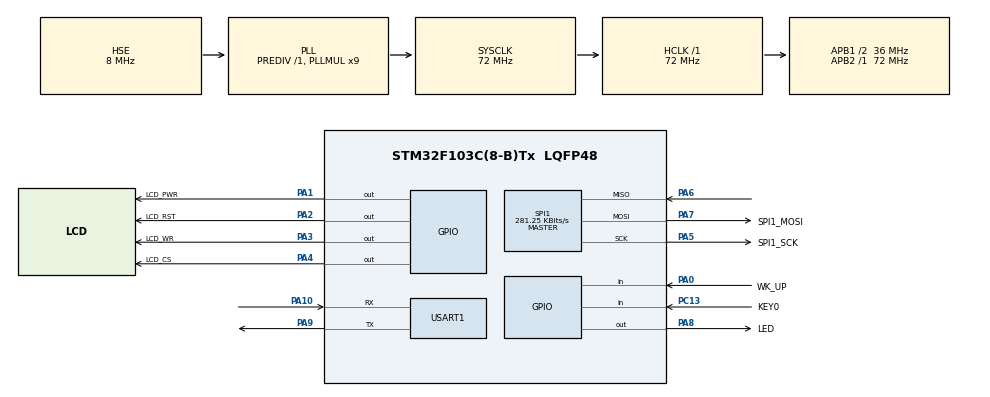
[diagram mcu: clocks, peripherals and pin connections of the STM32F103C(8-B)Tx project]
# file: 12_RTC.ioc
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Mcu.Family=STM32F1
Mcu.Name=STM32F103C(8-B)Tx
Mcu.Package=LQFP48
NVIC.PriorityGroup=NVIC_PRIORITYGROUP_2
NVIC.RTC_IRQn=true\:2\:2\:true\:false\:true\:true\:true\:true
NVIC.USART1_IRQn=true\:2\:0\:true\:false\:true\:true\:true\:true
PA0-WKUP.GPIO_Label=WK_UP
PA0-WKUP.GPIO_PuPd=GPIO_PULLDOWN
PA0-WKUP.Signal=GPIO_Input
PA1.GPIO_Label=LCD_PWR
PA1.GPIO_PuPd=GPIO_PULLUP
PA1.GPIO_Speed=GPIO_SPEED_FREQ_HIGH
PA1.PinState=GPIO_PIN_SET
PA1.Signal=GPIO_Output
PA10.Mode=Asynchronous
PA10.Signal=USART1_RX
PA13.Mode=Serial_Wire
PA13.Signal=SYS_JTMS-SWDIO
PA14.Mode=Serial_Wire
PA14.Signal=SYS_JTCK-SWCLK
PA2.GPIO_Label=LCD_RST
PA2.GPIO_PuPd=GPIO_PULLUP
PA2.GPIO_Speed=GPIO_SPEED_FREQ_HIGH
PA2.PinState=GPIO_PIN_SET
PA2.Signal=GPIO_Output
PA3.GPIO_Label=LCD_WR
PA3.GPIO_PuPd=GPIO_PULLUP
PA3.GPIO_Speed=GPIO_SPEED_FREQ_HIGH
PA3.PinState=GPIO_PIN_SET
PA3.Signal=GPIO_Output
PA4.GPIO_Label=LCD_CS
PA4.GPIO_PuPd=GPIO_PULLUP
PA4.GPIO_Speed=GPIO_SPEED_FREQ_HIGH
PA4.PinState=GPIO_PIN_SET
PA4.Signal=GPIO_Output
PA5.GPIO_Label=SPI1_SCK
PA5.Mode=Full_Duplex_Master
PA5.Signal=SPI1_SCK
PA6.Mode=Full_Duplex_Master
PA6.Signal=SPI1_MISO
PA7.GPIO_Label=SPI1_MOSI
PA7.Mode=Full_Duplex_Master
PA7.Signal=SPI1_MOSI
PA8.GPIO_Label=LED
PA8.GPIO_PuPd=GPIO_PULLUP
PA8.GPIO_Speed=GPIO_SPEED_FREQ_HIGH
PA8.PinState=GPIO_PIN_SET
PA8.Signal=GPIO_Output
PA9.Mode=Asynchronous
PA9.Signal=USART1_TX
PC13-TAMPER-RTC.GPIO_Label=KEY0
PC13-TAMPER-RTC.GPIO_PuPd=GPIO_PULLUP
PC13-TAMPER-RTC.Signal=GPIO_Input
PC14-OSC32_IN.Mode=LSE-External-Oscillator
PC14-OSC32_IN.Signal=RCC_OSC32_IN
PC15-OSC32_OUT.Mode=LSE-External-Oscillator
PC15-OSC32_OUT.Signal=RCC_OSC32_OUT
PD0-OSC_IN.Mode=HSE-External-Oscillator
PD0-OSC_IN.Signal=RCC_OSC_IN
PD1-OSC_OUT.Mode=HSE-External-Oscillator
PD1-OSC_OUT.Signal=RCC_OSC_OUT
ProjectManager.HeapSize=0x200
ProjectManager.StackSize=0x400
ProjectManager.TargetToolchain=STM32CubeIDE
RCC.AHBFreq_Value=72000000
RCC.APB1CLKDivider=RCC_HCLK_DIV2
RCC.APB1Freq_Value=36000000
RCC.APB1TimFreq_Value=72000000
RCC.APB2Freq_Value=72000000
RCC.APB2TimFreq_Value=72000000
RCC.HCLKFreq_Value=72000000
RCC.PLLMUL=RCC_PLL_MUL9
RCC.PLLSourceVirtual=RCC_PLLSOURCE_HSE
RCC.RTCClockSelection=RCC_RTCCLKSOURCE_LSE
RCC.SYSCLKFreq_VALUE=72000000
RCC.SYSCLKSource=RCC_SYSCLKSOURCE_PLLCLK
RCC.USBFreq_Value=72000000
RTC.Date=11
RTC.Hours=9
RTC.Month=RTC_MONTH_MARCH
RTC.Year=24
SPI1.BaudRatePrescaler=SPI_BAUDRATEPRESCALER_256
SPI1.CLKPhase=SPI_PHASE_2EDGE
SPI1.CLKPolarity=SPI_POLARITY_HIGH
SPI1.CalculateBaudRate=281.25 KBits/s
SPI1.Direction=SPI_DIRECTION_2LINES
SPI1.Mode=SPI_MODE_MASTER
SPI1.VirtualType=VM_MASTER
USART1.VirtualMode=VM_ASYNC
VP_RTC_No_RTC_Output.Mode=RTC_OUT_NO
VP_RTC_VS_RTC_Activate.Mode=RTC_Enabled
VP_RTC_VS_RTC_Calendar.Mode=RTC_Calendar
board=custom

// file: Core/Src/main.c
/**
 ****************************************************************************************************
 * @file        main.c
 * @author      ALIENTEK
 * @brief       USMART code
 * @license     Copyright (C) 2020-2032, ALIENTEK
 ****************************************************************************************************
 * @attention
 *
 * platform  	: ALIENTEK STM32F103 development board
 * website		: https://www.alientek.com
 * forum		: http://www.openedv.com/forum.php
 *
 * change logs	:
 * version		data		notes
 * V1.0			20240222	the first version
 *
 ****************************************************************************************************
 */

/* USER CODE BEGIN Header */

/* USER CODE END Header */
#include "main.h"
#include "rtc.h"
#include "spi.h"
#include "usart.h"
#include "gpio.h"

/* USER CODE BEGIN Includes */
#include "../../BSP/LED/led.h"
#include "../../BSP/KEY/key.h"
#include "../../BSP/LCD/lcd.h"
/* USER CODE END Includes */

/* USER CODE BEGIN PTD */

void stm32f103c8t6_show_mesg(void)
{
	/* The serial port outputs the experimental information */
	printf("\n");
	printf("********************************\r\n");
	printf("STM32F103\r\n");
	printf("RTC Test\r\n");
	printf("ATOM@ALIENTEK\r\n");
	printf("********************************\r\n");
	printf("\r\n");
}

/* USER CODE END PTD */

void SystemClock_Config(void);

/* USER CODE BEGIN 0 */

/* Defines an array of characters to display weeks */
char* weekdays[]={"Sunday","Monday","Tuesday","Wednesday",
                  "Thursday","Friday","Saterday"};

/* USER CODE END 0 */

int main(void)
{
  /* USER CODE BEGIN 1 */

    uint8_t tbuf[40];
    uint8_t t = 0;

  /* USER CODE END 1 */

  /* MCU Configuration--------------------------------------------------------*/

  /* Reset of all peripherals, Initializes the Flash interface and the Systick. */
  HAL_Init();

  /* Configure the system clock */
  SystemClock_Config();

  /* Initialize all configured peripherals */
  MX_GPIO_Init();
  MX_USART1_UART_Init();
  MX_SPI1_Init();
  MX_RTC_Init();
  /* USER CODE BEGIN 2 */

  stm32f103c8t6_show_mesg();
  rtc_set_alarm(2024, 3, 11, 9, 0, 0); /* Set an alarm */
  lcd_init();
  lcd_show_string(0, 5, 240, 32, 32, "STM32F103C8T6", RED);
  lcd_show_string(0, 34, 240, 24, 24, "RTC Test", RED);
  lcd_show_string(0, 60, 240, 16, 16, "ATOM@ALIENTEK", RED);

  /* USER CODE END 2 */

  /* Infinite loop */
  /* USER CODE BEGIN WHILE */
  while (1)
  {
	  t++;

	  if ((t % 10) == 0)               	/* The display data is updated every 100ms */
	  {
		  rtc_get_time();
          sprintf((char *)tbuf, "Time:%02d:%02d:%02d", calendar.hour, calendar.min, calendar.sec);
          printf("Time:%02d:%02d:%02d\r\n", calendar.hour, calendar.min, calendar.sec);
          lcd_show_string(0, 80, 210, 16, 16, (char *)tbuf,BLUE);
          sprintf((char *)tbuf, "Date:%04d-%02d-%02d", calendar.year, calendar.month, calendar.date);
          printf("Date:%02d-%02d-%02d\r\n",  calendar.year,  calendar.month,  calendar.date);
          lcd_show_string(0, 100, 210, 16, 16, (char *)tbuf,BLUE);
          sprintf((char *)tbuf, "Week:%s", weekdays[calendar.week]);
          lcd_show_string(0, 120, 210, 16, 16, (char *)tbuf,BLUE);
	  }

	  if ((t % 20) == 0)
	  {
		  LED_TOGGLE();              	/* Every 200ms, flip the LED */
	  }

	  HAL_Delay(10);
    /* USER CODE END WHILE */

  }
}

void SystemClock_Config(void)
{
  RCC_OscInitTypeDef RCC_OscInitStruct = {0};
  RCC_ClkInitTypeDef RCC_ClkInitStruct = {0};
  RCC_PeriphCLKInitTypeDef PeriphClkInit = {0};

  /** Initializes the RCC Oscillators according to the specified parameters
  * in the RCC_OscInitTypeDef structure.
  */
  RCC_OscInitStruct.OscillatorType = RCC_OSCILLATORTYPE_HSE|RCC_OSCILLATORTYPE_LSE;
  RCC_OscInitStruct.HSEState = RCC_HSE_ON;
  RCC_OscInitStruct.HSEPredivValue = RCC_HSE_PREDIV_DIV1;
  RCC_OscInitStruct.LSEState = RCC_LSE_ON;
  RCC_OscInitStruct.HSIState = RCC_HSI_ON;
  RCC_OscInitStruct.PLL.PLLState = RCC_PLL_ON;
  RCC_OscInitStruct.PLL.PLLSource = RCC_PLLSOURCE_HSE;
  RCC_OscInitStruct.PLL.PLLMUL = RCC_PLL_MUL9;
  if (HAL_RCC_OscConfig(&RCC_OscInitStruct) != HAL_OK)
  {
    Error_Handler();
  }

  /** Initializes the CPU, AHB and APB buses clocks
  */
  RCC_ClkInitStruct.ClockType = RCC_CLOCKTYPE_HCLK|RCC_CLOCKTYPE_SYSCLK
                              |RCC_CLOCKTYPE_PCLK1|RCC_CLOCKTYPE_PCLK2;
  RCC_ClkInitStruct.SYSCLKSource = RCC_SYSCLKSOURCE_PLLCLK;
  RCC_ClkInitStruct.AHBCLKDivider = RCC_SYSCLK_DIV1;
  RCC_ClkInitStruct.APB1CLKDivider = RCC_HCLK_DIV2;
  RCC_ClkInitStruct.APB2CLKDivider = RCC_HCLK_DIV1;

  if (HAL_RCC_ClockConfig(&RCC_ClkInitStruct, FLASH_LATENCY_2) != HAL_OK)
  {
    Error_Handler();
  }
  PeriphClkInit.PeriphClockSelection = RCC_PERIPHCLK_RTC;
  PeriphClkInit.RTCClockSelection = RCC_RTCCLKSOURCE_LSE;
  if (HAL_RCCEx_PeriphCLKConfig(&PeriphClkInit) != HAL_OK)
  {
    Error_Handler();
  }
}

void Error_Handler(void)
{
  __disable_irq();
  while (1)
  {
  }
}
